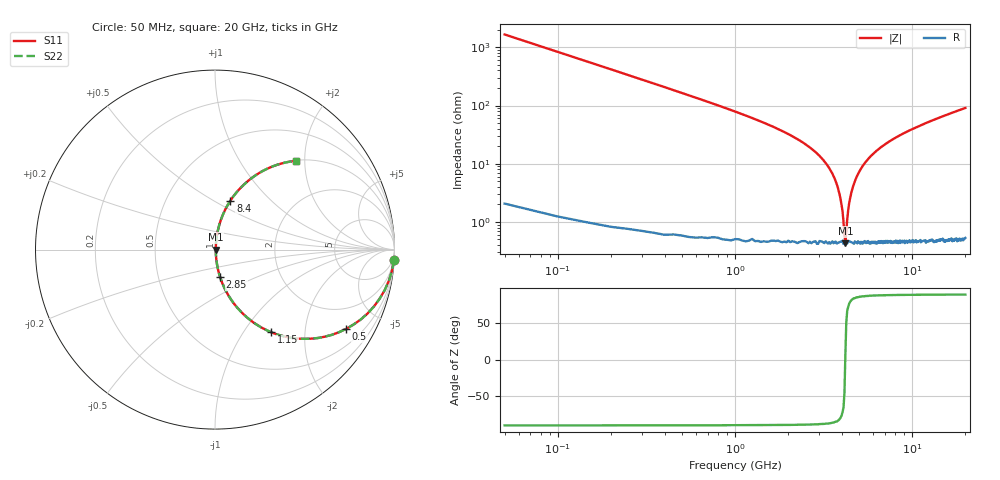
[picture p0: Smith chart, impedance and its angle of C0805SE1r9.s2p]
! AVX Thin Film Operation		Date: April 2012
! Description: Accu-P® Series, Thin Film, SMD, RF Capacitor
! Part Number: 08051J1R9PBTTR
!	100	MHz	-	20.05	GHz
!	Serial	Measurements
#	MHZ	S	MA	R	50
!	S11	S21	S12	S22
!	dB	Phase	dB	Phase	dB	Phase	dB	Phase
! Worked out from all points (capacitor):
!   400 points, 50 MHz to 20 GHz, reference 50 ohm
!   read as one part in series: C = 1.9 pF near 150 MHz
!   lowest |Z| = 427 mohm at 4.2 GHz (marker M1)
!   series resonance near 4.195 GHz, so ESL is about 760 pH
!   S11 on the Smith chart (normalised r, x): 50 MHz: 1, -33; 500 MHz: 1.01, -3.30; 1.15 GHz: 1.01, -1.35; 2.85 GHz: 1.01, -0.32; 8.4 GHz: 1.01, +0.60; 20 GHz: 1.01, +1.82
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50  0.998 -3.4  0.06 86.5  0.06 86.5  0.998 -3.4
100  0.993 -6.8  0.119 83.1  0.119 83.1  0.993 -6.8
200  0.972 -13.5  0.233 76.4  0.233 76.4  0.972 -13.5
500  0.854 -31.1  0.517 58.7  0.517 58.7  0.854 -31.1
1150  0.557 -55.8  0.827 33.8  0.827 33.8  0.557 -55.8
1850  0.341 -69.3  0.936 20.0  0.936 20.0  0.341 -69.3
2850  0.156 -79.4  0.983 9.0  0.983 9.0  0.156 -79.4
3400  0.084 -82.2  0.992 4.8  0.992 4.8  0.084 -82.2
3900  0.029 -79.6  0.995 1.7  0.995 1.7  0.029 -79.6
4050  0.015 -71.6  0.995 0.8  0.995 0.8  0.015 -71.6
4200  0.004468 6.3  0.996 -0.0  0.996 -0.0  0.004468 6.3
4300  0.011 65.2  0.996 -0.6  0.996 -0.6  0.011 65.2
4400  0.02 75.8  0.995 -1.1  0.995 -1.1  0.02 75.8
4550  0.033 80.3  0.995 -1.9  0.995 -1.9  0.033 80.3
4800  0.054 82.2  0.994 -3.1  0.994 -3.1  0.054 82.2
5600  0.116 81.2  0.989 -6.6  0.989 -6.6  0.116 81.2
6700  0.19 77.7  0.977 -10.9  0.977 -10.9  0.19 77.7
8400  0.286 72.5  0.954 -16.6  0.954 -16.6  0.286 72.5
10050  0.366 67.9  0.926 -21.5  0.926 -21.5  0.366 67.9
13350  0.495 59.8  0.865 -29.7  0.865 -29.7  0.495 59.8
16700  0.595 53.1  0.799 -36.5  0.799 -36.5  0.595 53.1
20000  0.671 47.5  0.737 -42.2  0.737 -42.2  0.671 47.5
